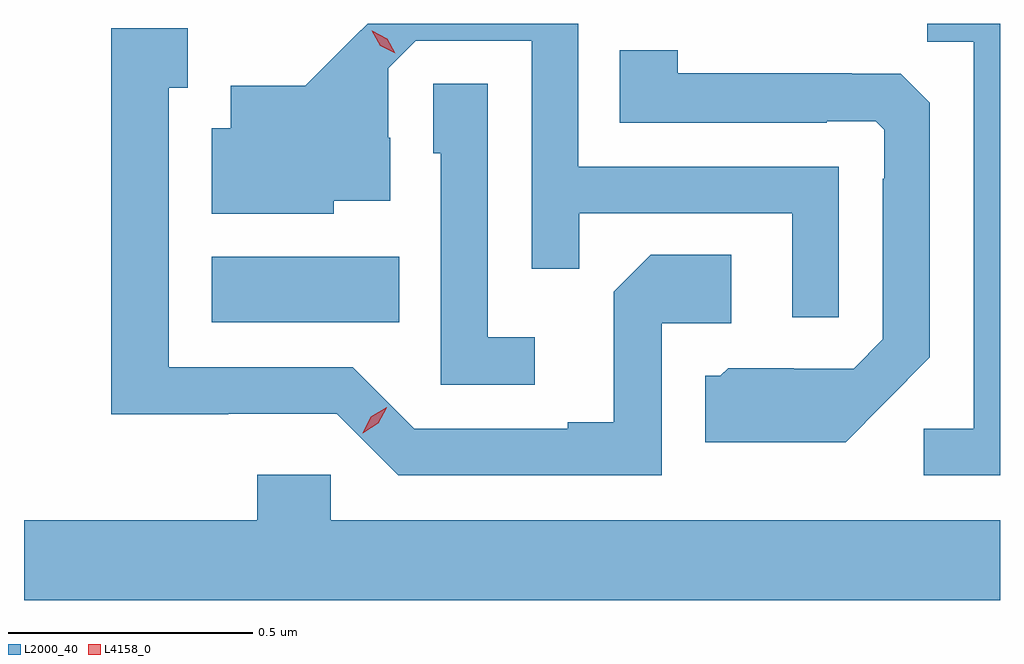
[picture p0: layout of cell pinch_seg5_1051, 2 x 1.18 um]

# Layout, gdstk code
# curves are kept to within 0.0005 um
import gdstk
lib = gdstk.Library(unit=1e-6, precision=1e-09)
def R(c, l, rs):  # rectangles x0, y0, x1, y1
    for r in rs: c.add(gdstk.rectangle(r[:2], r[2:], *l))
def P(c, l, *ps):  # polygons
    for p in ps: c.add(gdstk.Polygon(p, *l))
L2000_40 = (2000, 40)
L4158_0 = (4158, 0)

pinch_seg5_1051 = lib.new_cell('pinch_seg5_1051')
R(pinch_seg5_1051, L2000_40, [(701.03,844.01,701.414,844.144)])
P(pinch_seg5_1051, L2000_40, [(702.315,844.329),(701.781,844.329),(701.781,844.622),(701.349,844.622),(701.221,844.495),(701.069,844.495),(701.069,844.408),(701.03,844.408),(701.03,844.232),(701.28,844.232),(701.28,844.259),(701.395,844.259),(701.395,844.388),(701.391,844.388),(701.391,844.53),(701.448,844.587),(701.685,844.587),(701.685,844.12),(701.783,844.12),(701.783,844.233),(702.219,844.233),(702.219,844.02),(702.315,844.02)],
  [(702.645,844.622),(702.496,844.622),(702.496,844.585),(702.591,844.585),(702.591,843.792),(702.489,843.792),(702.489,843.696),(702.645,843.696)],
  [(701.952,844.008),(702.094,844.008),(702.094,844.148),(701.929,844.148),(701.853,844.072),(701.853,843.805),(701.759,843.805),(701.759,843.792),(701.445,843.792),(701.319,843.918),(700.942,843.918),(700.942,844.491),(700.981,844.491),(700.981,844.612),(700.824,844.612),(700.824,843.821),(701.064,843.821),(701.064,843.822),(701.286,843.822),(701.412,843.696),(701.952,843.696)],
  [(702.409,843.845),(702.501,843.938),(702.501,844.46),(702.442,844.519),(702.341,844.519),(702.341,844.52),(701.985,844.52),(701.985,844.567),(701.866,844.567),(701.866,844.419),(702.29,844.419),(702.29,844.422),(702.39,844.422),(702.408,844.404),(702.408,844.304),(702.405,844.304),(702.405,843.975),(702.345,843.915),(702.222,843.915),(702.222,843.916),(702.088,843.916),(702.072,843.9),(702.041,843.9),(702.041,843.764),(702.329,843.764)],
  [(701.692,843.979),(701.595,843.979),(701.595,844.499),(701.484,844.499),(701.484,844.356),(701.499,844.356),(701.499,843.882),(701.692,843.882)],
  [(702.645,843.604),(701.274,843.604),(701.274,843.697),(701.123,843.697),(701.123,843.604),(700.645,843.604),(700.645,843.44),(702.645,843.44)])
P(pinch_seg5_1051, L4158_0, [(701.406,844.561),(701.375,844.577),(701.358,844.607),(701.358,844.607),(701.359,844.607),(701.389,844.591),(701.406,844.561),(701.406,844.561)],
  [(701.339,843.783),(701.339,843.784),(701.356,843.816),(701.388,843.836),(701.388,843.836),(701.388,843.835),(701.371,843.803),(701.339,843.783)])

lib.write_gds('pinch_seg5_1051.gds')
